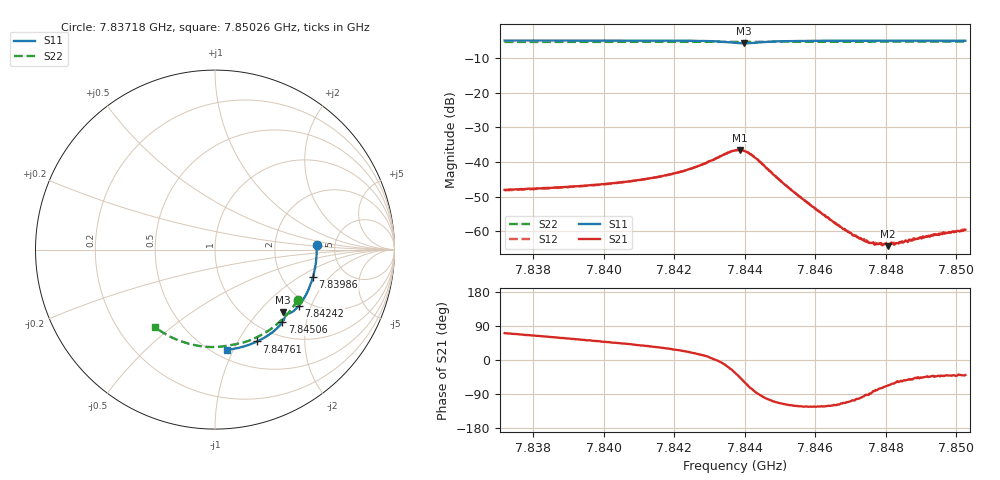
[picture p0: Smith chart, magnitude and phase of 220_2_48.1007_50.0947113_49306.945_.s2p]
#  HZ  S  RI  R  50.00
! Rohde & Schwarz Vector Network Analyzer
! Rohde-Schwarz,ZNB20-2Port,1311601062101988,3.16
! Created: UTC 12/23/2023, 3:56:40 AM
! freq[Hz]  re:S11  im:S11  re:S21  im:S21  re:S12  im:S12  re:S22  im:S22
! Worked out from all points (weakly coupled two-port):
!   401 points, 7.83718 GHz to 7.85026 GHz, reference 50 ohm
!   highest |S21| = -36.53 dB at 7.84385 GHz (marker M1); lowest = -64.3 dB at 7.84807 GHz (marker M2)
!   lowest |S11| = -5.8 dB at 7.84398 GHz (marker M3), VSWR 3.13, Z = 72.8 - j68.9 ohm
!   |S11| at or under -10 dB: nowhere
!   |S22| runs from -5.4 to -5.3 dB; largest |S21 - S12| = 0.00024
!   S11 on the Smith chart (normalised r, x): 7.83718 GHz: 3.59, +0.25; 7.83986 GHz: 2.95, -1.33; 7.84242 GHz: 1.80, -1.64; 7.84506 GHz: 1.25, -1.46; 7.84761 GHz: 0.80, -1.21; 7.85026 GHz: 0.58, -0.94
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7.837183e9  0.5657 0.0238  0.00129 0.00375  0.00133 0.00367  0.4607 -0.281
7.839374e9  0.5539 -0.1214  0.00268 0.00363  0.00265 0.0036  0.3639 -0.3996
7.839865e9  0.5458 -0.1534  0.00306 0.00358  0.003 0.00358  0.3378 -0.4219
7.840682e9  0.5279 -0.2058  0.00387 0.0035  0.00383 0.00348  0.2915 -0.4557
7.841565e9  0.5018 -0.2609  0.00513 0.00335  0.0051 0.00337  0.2376 -0.4863
7.842415e9  0.4677 -0.3119  0.00733 0.00281  0.00727 0.00282  0.1822 -0.5096
7.843233e9  0.4192 -0.3534  0.0116 -0.000329  0.0116 -0.000433  0.1272 -0.5253
7.843723e9  0.3843 -0.3551  0.0123 -0.00809  0.0123 -0.00808  0.0943 -0.5309
7.843854e9  0.3803 -0.3511  0.0105 -0.0106  0.0106 -0.0105  0.0858 -0.5322
7.843985e9  0.3806 -0.3477  0.00766 -0.0121  0.00781 -0.0122  0.0777 -0.5335
7.844312e9  0.3892 -0.3552  0.000923 -0.0114  0.00106 -0.0114  0.0565 -0.5375
7.845064e9  0.3749 -0.4053  -0.00219 -0.0046  -0.00222 -0.00461  0.00391 -0.5427
7.845914e9  0.3328 -0.4502  -0.00125 -0.00189  -0.00126 -0.00195  -0.056 -0.5408
7.846666e9  0.2906 -0.4809  -0.00057 -0.00108  -0.000549 -0.00108  -0.1085 -0.5332
7.847124e9  0.2638 -0.4968  -0.000244 -0.00082  -0.000239 -0.000826  -0.1396 -0.5262
7.847255e9  0.256 -0.501  -0.000153 -0.00077  -0.000139 -0.000771  -0.1487 -0.5238
7.847615e9  0.2341 -0.5119  5.36e-05 -0.000672  3.51e-05 -0.000659  -0.1728 -0.5166
7.848073e9  0.2058 -0.5239  0.000238 -0.000561  0.00023 -0.000615  -0.2031 -0.5056
7.848105e9  0.2038 -0.5247  0.000257 -0.00058  0.000249 -0.000575  -0.2051 -0.5048
7.848367e9  0.1873 -0.5308  0.000351 -0.000567  0.000362 -0.000583  -0.222 -0.498
7.849413e9  0.1201 -0.5499  0.000663 -0.000618  0.000674 -0.000641  -0.2873 -0.464
7.850263e9  0.0645 -0.5585  0.00081 -0.000673  0.000801 -0.000691  -0.3363 -0.4303
